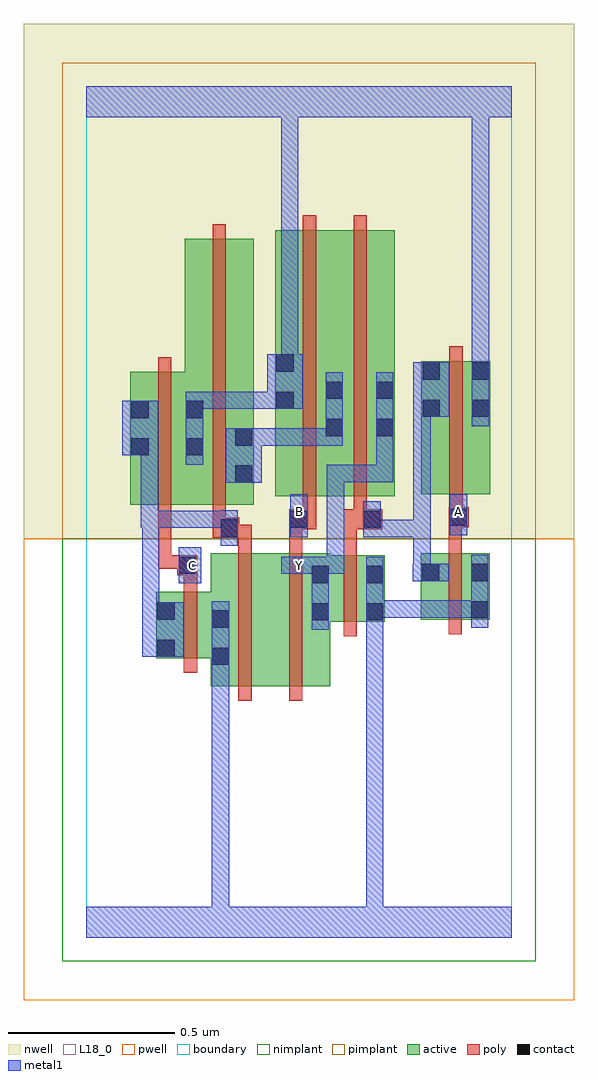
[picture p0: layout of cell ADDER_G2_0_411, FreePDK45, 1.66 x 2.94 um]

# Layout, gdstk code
import gdstk
lib = gdstk.Library(unit=1e-6, precision=1e-09)
def R(c, l, rs):  # rectangles x0, y0, x1, y1
    for r in rs: c.add(gdstk.rectangle(r[:2], r[2:], *l))
active = (1, 0)
pwell = (2, 0)
nwell = (3, 0)
nimplant = (4, 0)
pimplant = (5, 0)
poly = (9, 0)
contact = (10, 0)
metal1 = (11, 0)
L18_0 = (18, 0)
boundary = (235, 0)

adder_g2_0_411 = lib.new_cell('ADDER_G2_0_411')
R(adder_g2_0_411, active, [(0.374,0.756,0.554,1.156), (0.374,0.756,0.434,0.988), (0.554,0.756,0.734,1.156), (0.674,0.756,0.734,1.15), (0.21,0.84,0.27,1.04), (0.21,0.84,0.434,1.04), (0.674,0.95,0.898,1.15), (0.838,0.95,0.898,1.15), (1.006,0.956,1.066,1.156), (1.006,0.956,1.214,1.156), (1.154,0.956,1.214,1.156), (0.132,1.302,0.192,1.702), (0.132,1.302,0.356,1.702), (0.296,1.302,0.504,2.102), (0.444,1.302,0.504,2.074), (0.568,1.328,0.776,2.128), (0.568,1.328,0.628,2.128), (0.716,1.328,0.776,2.044), (0.716,1.328,0.928,2.128), (0.868,1.328,0.928,2.044), (1.008,1.334,1.068,1.734), (1.008,1.334,1.216,1.734), (1.156,1.334,1.216,1.734), (0.296,1.366,0.356,1.888)])
R(adder_g2_0_411, pwell, [(-0.188,-0.188,1.468,1.2)])
R(adder_g2_0_411, nwell, [(-0.188,1.2,1.468,2.748)])
R(adder_g2_0_411, nimplant, [(-0.072,-0.072,1.352,1.2)])
R(adder_g2_0_411, pimplant, [(-0.072,1.2,1.352,2.632)])
R(adder_g2_0_411, poly, [(0.458,0.712,0.498,1.2), (0.61,0.712,0.65,1.2), (0.294,0.796,0.334,1.084), (0.774,0.906,0.814,1.194), (1.09,0.912,1.13,1.2), (0.294,1.044,0.334,1.13), (0.274,1.09,0.334,1.15), (0.216,1.11,0.256,1.298), (0.216,1.11,0.314,1.15), (0.274,1.11,0.314,1.15), (0.774,1.154,0.814,1.268), (0.458,1.16,0.498,1.242), (0.61,1.16,0.65,1.268), (1.09,1.16,1.13,1.274), (0.38,1.202,0.46,1.262), (0.42,1.202,0.46,1.242), (0.42,1.202,0.498,1.242), (0.38,1.222,0.42,1.298), (0.61,1.228,0.65,1.268), (0.61,1.228,0.65,1.268), (0.61,1.228,0.692,1.288), (0.774,1.228,0.89,1.288), (1.09,1.234,1.15,1.294), (0.652,1.248,0.692,1.324), (0.804,1.248,0.844,1.324), (0.804,1.248,0.844,1.288), (0.804,1.248,0.844,1.288), (1.092,1.254,1.132,1.33), (1.092,1.254,1.132,1.294), (1.092,1.254,1.132,1.294), (0.216,1.258,0.256,1.746), (0.38,1.258,0.42,2.146), (0.652,1.284,0.692,2.172), (0.804,1.284,0.844,2.172), (1.092,1.29,1.132,1.778)])
R(adder_g2_0_411, contact, [(0.378,0.82,0.43,0.872), (0.214,0.844,0.266,0.896), (0.378,0.932,0.43,0.984), (0.678,0.954,0.73,1.006), (0.842,0.954,0.894,1.006), (0.214,0.956,0.266,1.008), (1.158,0.96,1.21,1.012), (0.678,1.066,0.73,1.118), (0.842,1.066,0.894,1.118), (1.01,1.072,1.062,1.124), (1.158,1.072,1.21,1.124), (0.278,1.094,0.33,1.146), (0.404,1.206,0.456,1.258), (0.614,1.232,0.666,1.284), (0.834,1.232,0.886,1.284), (1.094,1.238,1.146,1.29), (0.448,1.368,0.5,1.42), (0.136,1.45,0.188,1.502), (0.3,1.45,0.352,1.502), (0.448,1.48,0.5,1.532), (0.72,1.508,0.772,1.56), (0.872,1.508,0.924,1.56), (0.136,1.562,0.188,1.614), (0.3,1.562,0.352,1.614), (1.012,1.566,1.064,1.618), (1.16,1.566,1.212,1.618), (0.572,1.59,0.624,1.642), (0.72,1.62,0.772,1.672), (0.872,1.62,0.924,1.672), (1.012,1.678,1.064,1.73), (1.16,1.678,1.212,1.73), (0.572,1.702,0.624,1.754)])
R(adder_g2_0_411, metal1, [(0,0,1.28,0.092), (0.378,0.04,0.43,0.092), (0.378,0.04,0.43,0.092), (0.378,0.04,0.43,0.092), (0.378,0.04,0.43,0.092), (0.378,0.04,0.43,0.092), (0.378,0.04,0.43,0.092), (0.378,0.04,0.43,0.092), (0.378,0.04,0.43,0.092), (0.378,0.04,0.43,0.092), (0.378,0.04,0.43,0.092), (0.378,0.04,0.43,0.092), (0.378,0.04,0.43,0.092), (0.378,0.04,0.43,0.844), (0.842,0.04,0.894,0.092), (0.842,0.04,0.894,0.092), (0.842,0.04,0.894,0.092), (0.842,0.04,0.894,0.092), (0.842,0.04,0.894,0.092), (0.842,0.04,0.894,0.092), (0.842,0.04,0.894,0.092), (0.842,0.04,0.894,0.092), (0.842,0.04,0.894,0.092), (0.842,0.04,0.894,0.092), (0.842,0.04,0.894,0.092), (0.842,0.04,0.894,0.092), (0.842,0.04,0.894,0.092), (0.842,0.04,0.894,0.092), (0.842,0.04,0.894,0.978), (0.378,0.792,0.43,1.012), (0.168,0.844,0.294,1.008), (0.678,0.926,0.73,1.146), (0.842,0.926,0.894,0.978), (0.842,0.926,0.894,0.978), (0.842,0.926,0.894,1.146), (1.158,0.932,1.21,1.152), (0.168,0.956,0.22,1.284), (0.842,0.962,1.1,1.014), (1.048,0.962,1.1,1.014), (1.048,0.962,1.21,1.014), (1.158,0.962,1.21,1.014), (1.158,0.962,1.21,1.014), (0.278,1.066,0.346,1.174), (0.982,1.072,1.09,1.124), (0.984,1.072,1.036,1.256), (0.586,1.094,0.776,1.146), (0.678,1.094,0.73,1.146), (0.724,1.094,0.776,1.422), (0.404,1.178,0.456,1.286), (0.614,1.204,0.666,1.334), (0.834,1.204,0.886,1.256), (0.834,1.204,0.886,1.256), (0.834,1.204,1.036,1.256), (0.834,1.204,0.886,1.312), (0.984,1.204,1.036,1.256), (0.984,1.204,1.036,1.256), (0.984,1.204,1.036,1.256), (0.984,1.204,1.036,1.618), (1.094,1.21,1.146,1.334), (0.164,1.232,0.216,1.502), (0.164,1.232,0.22,1.284), (0.168,1.232,0.22,1.284), (0.168,1.232,0.22,1.284), (0.168,1.232,0.22,1.284), (0.168,1.232,0.22,1.284), (0.168,1.232,0.362,1.284), (0.31,1.232,0.362,1.284), (0.31,1.232,0.456,1.284), (0.42,1.368,0.528,1.532), (0.724,1.37,0.776,1.422), (0.724,1.37,0.924,1.422), (0.872,1.37,0.924,1.422), (0.872,1.37,0.924,1.422), (0.872,1.37,0.924,1.422), (0.872,1.37,0.924,1.532), (0.3,1.422,0.352,1.642), (0.108,1.45,0.216,1.614), (0.476,1.48,0.528,1.532), (0.476,1.48,0.528,1.532), (0.476,1.48,0.772,1.532), (0.72,1.48,0.772,1.532), (0.72,1.48,0.772,1.532), (0.72,1.48,0.772,1.7), (0.872,1.48,0.924,1.7), (1.16,1.538,1.212,1.758), (0.984,1.566,1.092,1.73), (0.3,1.59,0.352,1.642), (0.3,1.59,0.352,1.642), (0.3,1.59,0.528,1.642), (0.476,1.59,0.528,1.642), (0.476,1.59,0.596,1.642), (0.544,1.59,0.652,1.754), (0.586,1.702,0.638,2.52), (1.16,1.706,1.212,1.758), (1.16,1.706,1.212,1.758), (1.16,1.706,1.212,1.758), (1.16,1.706,1.212,1.758), (1.16,1.706,1.212,1.758), (1.16,1.706,1.212,1.758), (1.16,1.706,1.212,2.52), (0,2.468,1.28,2.56), (0.586,2.468,0.638,2.52), (0.586,2.468,0.638,2.52), (0.586,2.468,0.638,2.52), (0.586,2.468,0.638,2.52), (0.586,2.468,0.638,2.52), (0.586,2.468,0.638,2.52), (0.586,2.468,0.638,2.52), (0.586,2.468,0.638,2.52), (1.16,2.468,1.212,2.52), (1.16,2.468,1.212,2.52), (1.16,2.468,1.212,2.52), (1.16,2.468,1.212,2.52), (1.16,2.468,1.212,2.52), (1.16,2.468,1.212,2.52), (1.16,2.468,1.212,2.52), (1.16,2.468,1.212,2.52), (1.16,2.468,1.212,2.52), (1.16,2.468,1.212,2.52)])
R(adder_g2_0_411, L18_0, [(0,0,1.28,0.092), (0.378,0.04,0.43,0.092), (0.378,0.04,0.43,0.092), (0.378,0.04,0.43,0.092), (0.378,0.04,0.43,0.092), (0.378,0.04,0.43,0.092), (0.378,0.04,0.43,0.092), (0.378,0.04,0.43,0.092), (0.378,0.04,0.43,0.092), (0.378,0.04,0.43,0.092), (0.378,0.04,0.43,0.092), (0.378,0.04,0.43,0.092), (0.378,0.04,0.43,0.092), (0.378,0.04,0.43,0.844), (0.842,0.04,0.894,0.092), (0.842,0.04,0.894,0.092), (0.842,0.04,0.894,0.092), (0.842,0.04,0.894,0.092), (0.842,0.04,0.894,0.092), (0.842,0.04,0.894,0.092), (0.842,0.04,0.894,0.092), (0.842,0.04,0.894,0.092), (0.842,0.04,0.894,0.092), (0.842,0.04,0.894,0.092), (0.842,0.04,0.894,0.092), (0.842,0.04,0.894,0.092), (0.842,0.04,0.894,0.092), (0.842,0.04,0.894,0.092), (0.842,0.04,0.894,0.978), (0.378,0.792,0.43,1.012), (0.678,0.926,0.73,1.146), (0.842,0.926,0.894,0.978), (0.842,0.926,0.894,0.978), (0.842,0.926,0.894,1.146), (1.158,0.932,1.21,1.152), (0.842,0.962,1.1,1.014), (1.048,0.962,1.1,1.014), (1.048,0.962,1.21,1.014), (1.158,0.962,1.21,1.014), (1.158,0.962,1.21,1.014), (0.278,1.066,0.346,1.174), (0.294,1.094,0.346,1.146), (0.586,1.094,0.776,1.146), (0.614,1.094,0.666,1.146), (0.678,1.094,0.73,1.146), (0.724,1.094,0.776,1.422), (0.614,1.204,0.666,1.334), (1.094,1.21,1.146,1.334), (0.614,1.254,0.666,1.306), (1.094,1.254,1.146,1.306), (0.724,1.37,0.776,1.422), (0.724,1.37,0.924,1.422), (0.872,1.37,0.924,1.422), (0.872,1.37,0.924,1.422), (0.872,1.37,0.924,1.422), (0.872,1.37,0.924,1.532), (0.3,1.422,0.352,1.642), (0.872,1.48,0.924,1.7), (1.16,1.538,1.212,1.758), (0.3,1.59,0.352,1.642), (0.3,1.59,0.352,1.642), (0.3,1.59,0.528,1.642), (0.476,1.59,0.528,1.642), (0.476,1.59,0.596,1.642), (0.544,1.59,0.652,1.754), (0.586,1.702,0.638,2.52), (1.16,1.706,1.212,1.758), (1.16,1.706,1.212,1.758), (1.16,1.706,1.212,1.758), (1.16,1.706,1.212,1.758), (1.16,1.706,1.212,1.758), (1.16,1.706,1.212,1.758), (1.16,1.706,1.212,2.52), (0,2.468,1.28,2.56), (0.586,2.468,0.638,2.52), (0.586,2.468,0.638,2.52), (0.586,2.468,0.638,2.52), (0.586,2.468,0.638,2.52), (0.586,2.468,0.638,2.52), (0.586,2.468,0.638,2.52), (0.586,2.468,0.638,2.52), (0.586,2.468,0.638,2.52), (1.16,2.468,1.212,2.52), (1.16,2.468,1.212,2.52), (1.16,2.468,1.212,2.52), (1.16,2.468,1.212,2.52), (1.16,2.468,1.212,2.52), (1.16,2.468,1.212,2.52), (1.16,2.468,1.212,2.52), (1.16,2.468,1.212,2.52), (1.16,2.468,1.212,2.52), (1.16,2.468,1.212,2.52)])
R(adder_g2_0_411, boundary, [(0,0,1.28,2.56)])
adder_g2_0_411.add(gdstk.Label('A', (1.12,1.28), layer=11, texttype=0))
adder_g2_0_411.add(gdstk.Label('B', (0.64,1.28), layer=11, texttype=0))
adder_g2_0_411.add(gdstk.Label('C', (0.32,1.12), layer=11, texttype=0))
adder_g2_0_411.add(gdstk.Label('Y', (0.64,1.12), layer=11, texttype=0))

lib.write_gds('ADDER_G2_0_411.gds')
